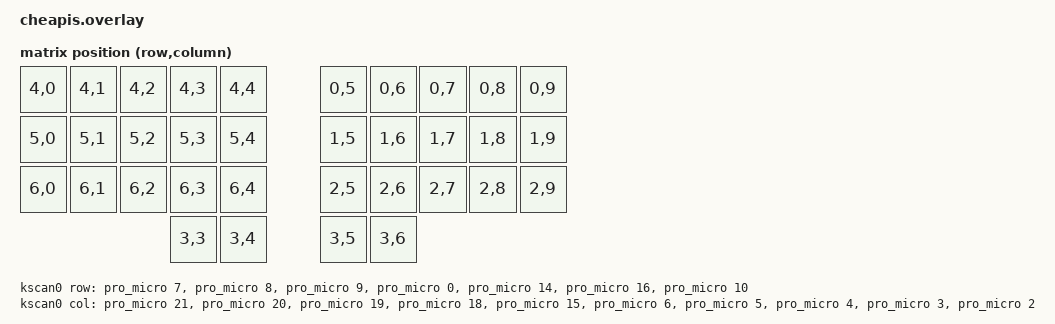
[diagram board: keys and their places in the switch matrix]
#include <dt-bindings/zmk/matrix_transform.h>

/ {
    chosen {
        zmk,kscan = &kscan0;
        zmk,matrix_transform = &default_transform;
    };

    default_transform: keymap_transform_0 {
        compatible = "zmk,matrix-transform";
        columns = <10>;
        rows = <7>;

        map = <
RC(4,0) RC(4,1) RC(4,2) RC(4,3) RC(4,4) RC(0,5) RC(0,6) RC(0,7) RC(0,8) RC(0,9)
RC(5,0) RC(5,1) RC(5,2) RC(5,3) RC(5,4) RC(1,5) RC(1,6) RC(1,7) RC(1,8) RC(1,9)
RC(6,0) RC(6,1) RC(6,2) RC(6,3) RC(6,4) RC(2,5) RC(2,6) RC(2,7) RC(2,8) RC(2,9)
                        RC(3,3)    RC(3,4)  RC(3,5)  RC(3,6)  
        >;
    };

    kscan0: kscan_0 {
        compatible = "zmk,kscan-gpio-matrix";
        label = "KSCAN";
        diode-direction = "col2row";
        col-gpios
            = <&pro_micro 21 GPIO_ACTIVE_HIGH>
            , <&pro_micro 20 GPIO_ACTIVE_HIGH>
            , <&pro_micro 19 GPIO_ACTIVE_HIGH>
            , <&pro_micro 18 GPIO_ACTIVE_HIGH>
            , <&pro_micro 15 GPIO_ACTIVE_HIGH>
            , <&pro_micro 6 GPIO_ACTIVE_HIGH>
            , <&pro_micro 5 GPIO_ACTIVE_HIGH>
            , <&pro_micro 4 GPIO_ACTIVE_HIGH>
            , <&pro_micro 3 GPIO_ACTIVE_HIGH>
            , <&pro_micro 2 GPIO_ACTIVE_HIGH>
            ;

        row-gpios
            = <&pro_micro 7 (GPIO_ACTIVE_HIGH | GPIO_PULL_DOWN)>
            , <&pro_micro 8 (GPIO_ACTIVE_HIGH | GPIO_PULL_DOWN)>
            , <&pro_micro 9 (GPIO_ACTIVE_HIGH | GPIO_PULL_DOWN)>
            , <&pro_micro 0 (GPIO_ACTIVE_HIGH | GPIO_PULL_DOWN)>
            , <&pro_micro 14 (GPIO_ACTIVE_HIGH | GPIO_PULL_DOWN)>
            , <&pro_micro 16 (GPIO_ACTIVE_HIGH | GPIO_PULL_DOWN)>
            , <&pro_micro 10 (GPIO_ACTIVE_HIGH | GPIO_PULL_DOWN)>
            ;
    };
};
